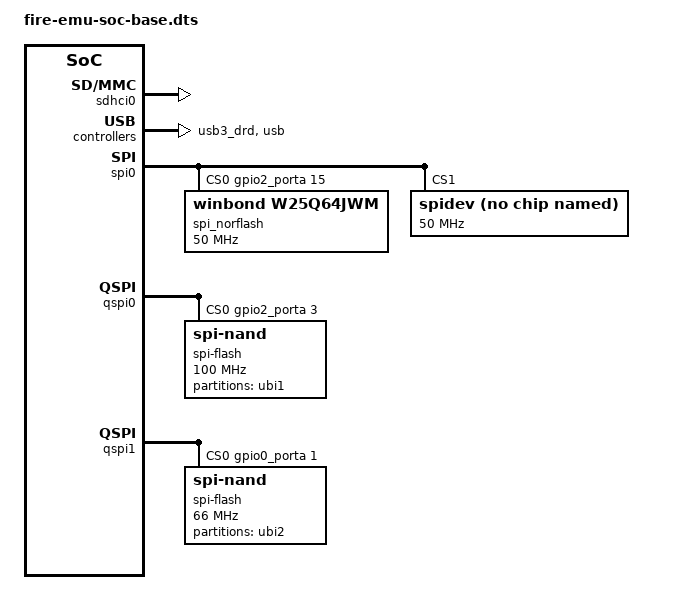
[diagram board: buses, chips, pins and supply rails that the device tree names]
/* SPDX-License-Identifier: GPL-2.0 */
/*
 * Copyright (C) 2021-2022 Alibaba Group Holding Limited.
 */

/dts-v1/;

#include "fire-emu.dts"

&sdhci0 {
	status = "okay";
};

&usb3_drd {
	status = "okay";
};

&usb {
	status = "okay";
};

&spi0 {
	num-cs = <1>;
	cs-gpios = <&gpio2_porta 15 0>; // GPIO_ACTIVE_HIGH: 0
	rx-sample-delay-ns = <10>;
	status = "okay";

	spi_norflash@0 {
		#address-cells = <1>;
		#size-cells = <1>;
		compatible = "winbond,w25q64jwm", "jedec,spi-nor";
		reg = <0>;
		spi-max-frequency = <50000000>;
		w25q,fast-read;
		status = "okay";
	};

	spidev@1 {
		compatible = "spidev";
		#address-cells = <0x1>;
		#size-cells = <0x1>;
		reg = <0x1>;
		spi-max-frequency = <50000000>;
	};
};

&qspi0 {
	num-cs = <1>;
	cs-gpios = <&gpio2_porta 3 0>;
	rx-sample-dly = <4>;
	status = "okay";

	spi-flash@0 {
		#address-cells = <1>;
		#size-cells = <1>;
		compatible = "spi-nand";
		spi-max-frequency = <100000000>;
		spi-tx-bus-width = <4>;
		spi-rx-bus-width = <4>;
		reg = <0>;

		partition@0 {
			label = "ubi1";
			reg = <0x00000000 0x08000000>;
		};
	};
};

&qspi1 {
	num-cs = <1>;
	cs-gpios = <&gpio0_porta 1 0>;
	status = "okay";

	spi-flash@0 {
		#address-cells = <1>;
		#size-cells = <1>;
		compatible = "spi-nand";
		spi-max-frequency = <66000000>;
		spi-tx-bus-width = <4>;
		spi-rx-bus-width = <4>;
		reg = <0>;

		partition@0 {
			label = "ubi2";
			reg = <0x00000000 0x08000000>;
		};
	};
};

